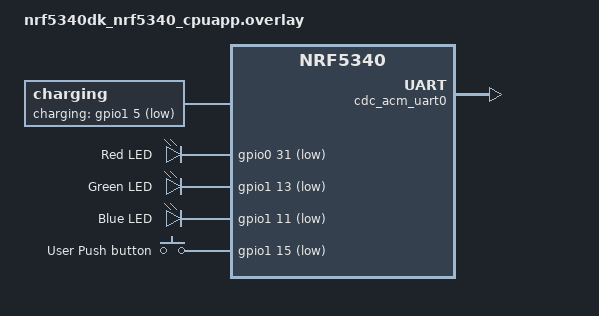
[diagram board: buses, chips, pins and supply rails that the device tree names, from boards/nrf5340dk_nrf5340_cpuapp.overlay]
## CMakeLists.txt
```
#
# Copyright (c) 2021 Nordic Semiconductor
#
# SPDX-License-Identifier: LicenseRef-Nordic-5-Clause
#
cmake_minimum_required(VERSION 3.13.1)

find_package(Zephyr REQUIRED HINTS $ENV{ZEPHYR_BASE})
project(nrf_dm)

# NORDIC SDK APP START
target_sources(app PRIVATE
  src/main.c
  src/peer.c
  )
# NORDIC SDK APP END

zephyr_library_include_directories(${CMAKE_CURRENT_SOURCE_DIR})

target_link_options(app PUBLIC "-Wl,--no-wchar-size-warning")
```

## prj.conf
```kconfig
#
# Copyright (c) 2021 Nordic Semiconductor ASA
#
# SPDX-License-Identifier: LicenseRef-Nordic-5-Clause
#
CONFIG_USB_DEVICE_STACK=y
CONFIG_USB_DEVICE_PRODUCT="Zephyr USB console sample"
CONFIG_BOOT_BANNER=n
CONFIG_STDOUT_CONSOLE=y
CONFIG_LOG=n
CONFIG_SERIAL=y
CONFIG_USE_SEGGER_RTT=y
CONFIG_CONSOLE=y
CONFIG_RTT_CONSOLE=y
CONFIG_UART_CONSOLE=y
CONFIG_UART_LINE_CTRL=y;
CONFIG_LOG_BACKEND_RTT=y

CONFIG_CLOCK_CONTROL_NRF_K32SRC_XTAL=y
CONFIG_CLOCK_CONTROL_NRF_K32SRC_20PPM=y

# BT
CONFIG_BT=y
CONFIG_BT_DEBUG_LOG=n

CONFIG_BT_CENTRAL=y
CONFIG_BT_PERIPHERAL=y

CONFIG_BT_SCAN=y
CONFIG_BT_SCAN_FILTER_ENABLE=y
CONFIG_BT_SCAN_NAME_CNT=1
CONFIG_BT_SCAN_MANUFACTURER_DATA_CNT=1
CONFIG_BT_SCAN_WITH_IDENTITY=y

CONFIG_BT_EXT_ADV=y

CONFIG_BT_DEVICE_NAME="nRF_DM"


# Distance Measurement
CONFIG_DM_MODULE=y
CONFIG_DM_TIMESLOT_RESCHEDULE=n
CONFIG_NEWLIB_LIBC=y

CONFIG_MPSL=y
CONFIG_MPSL_TIMESLOT_SESSION_COUNT=1

CONFIG_DM_MODULE_LOG_LEVEL_DBG=n

CONFIG_REBOOT=y
```

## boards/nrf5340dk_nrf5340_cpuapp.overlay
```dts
/*
 * Copyright (c) 2022 Nordic Semiconductor ASA
 *
 * SPDX-License-Identifier: LicenseRef-Nordic-5-Clause
 */

/ {
	chosen {
		zephyr,console = &cdc_acm_uart0;
	};
	
	charging {
		compatible = "charging";
		charging-gpios = <&gpio1 5 GPIO_ACTIVE_LOW>;
	};
        
	leds {
		compatible = "gpio-leds";
		led_red: led_red {
			gpios = <&gpio0 31 GPIO_ACTIVE_LOW>;
			label = "Red LED";
		};
		led_green: led_green {
			gpios = <&gpio1 13 GPIO_ACTIVE_LOW>;
			label = "Green LED";
		};
		led_blue: led_blue {
			gpios = <&gpio1 11 GPIO_ACTIVE_LOW>;
			label = "Blue LED";
		};
	};
	
	buttons {
		compatible = "gpio-keys";
		button_usr: button_usr {
			gpios = <&gpio1 15 (GPIO_PULL_UP | GPIO_ACTIVE_LOW)>;
			label = "User Push button";
		};
	};

	/* These aliases are provided for compatibility with samples */
	aliases {
		led0 = &led_red;
		led1 = &led_green;
		led2 = &led_blue;
		sw0 = &button_usr;
		bootloader-led0 = &led_red;
	};
};

&zephyr_udc0 {
	cdc_acm_uart0: cdc_acm_uart0 {
		compatible = "zephyr,cdc-acm-uart";
	};
};

&ipc0 {
	zephyr,buffer-size = <1536>;
};
```

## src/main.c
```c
/*
 * Copyright (c) 2021 Nordic Semiconductor ASA
 *
 * SPDX-License-Identifier: LicenseRef-Nordic-5-Clause
 */

/** @file
 *  @brief Nordic Distance Measurement sample
 */

#include <zephyr/kernel.h>
#include <zephyr/sys/byteorder.h>
#include <zephyr/sys/printk.h>
#include <zephyr/sys/reboot.h>

#include <zephyr/drivers/uart.h>
#include <zephyr/usb/usb_device.h>

#include <bluetooth/scan.h>
#include <zephyr/bluetooth/bluetooth.h>

#include "peer.h"
#include <dm.h>

BUILD_ASSERT(DT_NODE_HAS_COMPAT(DT_CHOSEN(zephyr_console), zephyr_cdc_acm_uart),
             "Console device is not ACM CDC UART device");

#define DESRIED_DM_RANGING_MODE DM_RANGING_MODE_MCPD

#define DEVICE_NAME CONFIG_BT_DEVICE_NAME
#define DEVICE_NAME_LEN (sizeof(DEVICE_NAME) - 1)

#define COMPANY_CODE 0x0059
#define SUPPORT_DM_CODE 0xFF55AA5A

static struct dm_cb dm_cb;

const static bt_addr_t devices[6] = {
    {.val = {0x31, 0x34, 0xA7, 0xEE, 0x6F, 0xEE}},
    {.val = {0x63, 0x8E, 0x3D, 0x59, 0x64, 0xDE}},
    {.val = {0x44, 0x56, 0xBE, 0xF2, 0x63, 0xF1}},
    {.val = {0x0F, 0xA1, 0x6D, 0x40, 0x6D, 0xDB}},
    {.val = {0xA2, 0x1B, 0xAB, 0x7D, 0xB4, 0xFF}},
    {.val = {0xDD, 0xA7, 0x54, 0x5D, 0x40, 0xFC}},
};
static int devices_counter = 0;

K_SEM_DEFINE(ble_mutex, 0, 1);

struct adv_mfg_data {
  uint16_t company_code;    /* Company Identifier Code. */
  uint32_t support_dm_code; /* To identify the device that supports distance
                               measurement. */
  uint32_t
      access_address; /* The access address used to measure the distance. */
} __packed;
static struct adv_mfg_data mfg_data;

// scan parameters
static struct bt_le_scan_param scan_param = {
    .type = BT_LE_SCAN_TYPE_ACTIVE, // to create scan requests
    .interval = BT_GAP_SCAN_FAST_INTERVAL,
    .window = BT_GAP_SCAN_FAST_WINDOW,
    .options = BT_LE_SCAN_OPT_NONE,
    .timeout = 0,
};

// scan init parameters
static struct bt_scan_init_param scan_init = {
    .connect_if_match = 0, .scan_param = &scan_param, .conn_param = NULL};

static struct bt_scan_manufacturer_data scan_mfg_data = {
    .data = (unsigned char *)&mfg_data,
    .data_len =
        sizeof(mfg_data.company_code) + sizeof(mfg_data.support_dm_code),
};

static bool data_cb(struct bt_data *data, void *user_data) {
  struct adv_mfg_data *recv_mfg_data;
  struct dm_request req;

  switch (data->type) {
  case BT_DATA_MANUFACTURER_DATA:
    if (sizeof(struct adv_mfg_data) == data->data_len) {
      recv_mfg_data = (struct adv_mfg_data *)data->data;

      bt_addr_le_copy(&req.bt_addr, user_data);
      req.role = DM_ROLE_INITIATOR;
      req.ranging_mode = peer_ranging_mode_get();
      req.access_address = sys_le32_to_cpu(recv_mfg_data->access_address);
      req.start_delay_us = 1000;

      dm_request_add(&req);
    }
    return false;
  default:
    return true;
  }
}

static void scan_filter_match(struct bt_scan_device_info *device_info,
                              struct bt_scan_filter_match *filter_match,
                              bool connectable) {
  static uint8_t reset_counter = 0;
  if (bt_addr_cmp(&devices[devices_counter],
                  &device_info->recv_info->addr->a)) {
    return;
  }

  if (k_sem_take(&ble_mutex, K_NO_WAIT)) {
    reset_counter++;
    if (reset_counter == 20) {
      struct dm_init_param init_param;
      init_param.cb = &dm_cb;
      printk("Reset\r\n");
      sys_reboot(SYS_REBOOT_COLD);
    }
    return;
  } else {
    devices_counter =
        (devices_counter + 1) % (sizeof(devices) / sizeof(bt_addr_t));
    reset_counter = 0;
  }
  bt_addr_le_t addr;

  bt_addr_le_copy(&addr, device_info->recv_info->addr);
  peer_supported_add(device_info->recv_info->addr);
  peer_update_rssi(device_info->recv_info->addr, device_info->recv_info->rssi);
  bt_data_parse(device_info->adv_data, data_cb, &addr);
}

BT_SCAN_CB_INIT(scan_cb, scan_filter_match, NULL, NULL, NULL);

static int scan_start(void) {
  int err;

  bt_scan_init(&scan_init);
  bt_scan_cb_register(&scan_cb);

  err =
      bt_scan_filter_add(BT_SCAN_FILTER_TYPE_MANUFACTURER_DATA, &scan_mfg_data);
  if (err) {
    printk("Scanning filters cannot be set (err %d)\n", err);
    return err;
  }

  err = bt_scan_filter_enable(BT_SCAN_MANUFACTURER_DATA_FILTER, false);
  if (err) {
    printk("Filters cannot be turned on (err %d)\n", err);
    return err;
  }

  err = bt_scan_start(BT_SCAN_TYPE_SCAN_ACTIVE);
  if (err) {
    printk("Scanning failed to start (err %d)\n", err);
    return err;
  }

  return err;
}

static int bt_sync_init(void) {
  /* Synchronisation is based on advertising and scanning modes.
   * It occurs when SCAN_REQ and SCAN_RESP packets are exchanged.
   */

  int err;

  // printk("DM Bluetooth LE Synchronization initialization\n");

  err = peer_access_address_prepare();
  if (err) {
    printk("Failed to prepare access address (err %d)\n", err);
  }

  bt_addr_le_t addr = {0};
  size_t count = 1;
  bt_id_get(&addr, &count);
  char buf[BT_ADDR_LE_STR_LEN] = {0};
  bt_addr_le_to_str(&addr, buf, BT_ADDR_LE_STR_LEN);
  // printk("Device address: %s\r\n", buf);

  peer_ranging_mode_set(DESRIED_DM_RANGING_MODE);

  mfg_data.company_code = sys_cpu_to_le16(COMPANY_CODE);
  mfg_data.support_dm_code = sys_cpu_to_le32(SUPPORT_DM_CODE);
  mfg_data.access_address = sys_cpu_to_le32(peer_access_address_get());

  err = scan_start();
  if (err) {
    printk("Failed to start scanning (err %d)\n", err);
  }
  // print csv header
  /* printk("address,quality,rssi,"); */
  /* if (peer_ranging_mode_get() == DM_RANGING_MODE_RTT) { */
  /*   printk("rtt\n"); */
  /* } else { */
  /*   printk("mcpd_ifft,mcpd_phase_slope,rssi_openspace,best\n"); */
  /* } */
  return err;
}

static void data_ready(struct dm_result *result) {
  if (result->status) {
    peer_update(result);
  }
}

void main(void) {
  int err;
  dm_cb.data_ready = data_ready;
  struct dm_init_param init_param;

  const struct device *const dev = DEVICE_DT_GET(DT_CHOSEN(zephyr_console));
  uint32_t dtr = 0;

  if (usb_enable(NULL)) {
    return;
  }

  while (!dtr) {
    uart_line_ctrl_get(dev, UART_LINE_CTRL_DTR, &dtr);
    k_sleep(K_MSEC(100));
  }
  //printk("Starting Distance Measurement example\n");

  err = peer_init();
  if (err) {
    printk("Peer init failed (err %d)\n", err);
    return;
  }

  init_param.cb = &dm_cb;

  err = dm_init(&init_param);
  if (err) {
    printk("Distance measurement init failed (err %d)\n", err);
    return;
  }

  err = bt_enable(NULL);
  if (err) {
    printk("Bluetooth init failed (err %d)\n", err);
    return;
  }

  err = bt_sync_init();
  if (err) {
    printk("Synchronisation init failed (err %d)\n", err);
    return;
  }

  k_sem_give(&ble_mutex);
  for (;;) {
    k_sleep(K_FOREVER);
  }
}
```

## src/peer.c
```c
/*
 * Copyright (c) 2021 Nordic Semiconductor ASA
 *
 * SPDX-License-Identifier: LicenseRef-Nordic-5-Clause
 */

#include <zephyr/bluetooth/conn.h>
#include <zephyr/kernel.h>

#include "peer.h"

extern struct k_sem ble_mutex;
#define PEER_MAX 8 /* Maximum number of tracked peer devices. */

#define STACKSIZE 1024
#define PEER_THREAD_PRIORITY K_LOWEST_APPLICATION_THREAD_PRIO

#define PEER_TIMEOUT_STEP_MS 500
#define PEER_TIMEOUT_INIT_MS 10000

#define DEFAULT_RANGING_MODE DM_RANGING_MODE_MCPD

static void timeout_handler(struct k_timer *timer_id);
static K_TIMER_DEFINE(timer, timeout_handler, NULL);

struct peer_entry {
  sys_snode_t node;
  bt_addr_le_t bt_addr;
  struct dm_result result;
  int8_t rssi;
  uint16_t timeout_ms;
};

static struct peer_entry *closest_peer;
static uint32_t access_address;
static enum dm_ranging_mode ranging_mode = DEFAULT_RANGING_MODE;

K_MSGQ_DEFINE(result_msgq, sizeof(struct dm_result), 16, 4);

static K_HEAP_DEFINE(peer_heap, PEER_MAX * sizeof(struct peer_entry));
static sys_slist_t peer_list = SYS_SLIST_STATIC_INIT(&peer_list);

static K_MUTEX_DEFINE(list_mtx);

static void list_lock(void) { k_mutex_lock(&list_mtx, K_FOREVER); }

static void list_unlock(void) { k_mutex_unlock(&list_mtx); }

static struct peer_entry *mcpd_min_peer_result(struct peer_entry *a,
                                               struct peer_entry *b) {
  if (!a && !b) {
    return NULL;
  } else if (!a && b) {
    return b->result.ranging_mode == DM_RANGING_MODE_MCPD ? b : NULL;
  } else if (a && !b) {
    return a->result.ranging_mode == DM_RANGING_MODE_MCPD ? a : NULL;
  } else if (a->result.ranging_mode == DM_RANGING_MODE_RTT &&
             b->result.ranging_mode == DM_RANGING_MODE_RTT) {
    return NULL;
  } else if (a->result.ranging_mode == DM_RANGING_MODE_RTT &&
             b->result.ranging_mode == DM_RANGING_MODE_MCPD) {
    return b;
  } else if (a->result.ranging_mode == DM_RANGING_MODE_MCPD &&
             b->result.ranging_mode == DM_RANGING_MODE_RTT) {
    return a;
  }

  if (a->result.dist_estimates.mcpd.best > b->result.dist_estimates.mcpd.best) {
    return a;
  }
  return b;
}

static struct peer_entry *peer_find_closest(void) {
  struct peer_entry *closest_peer, *item;
  sys_snode_t *node, *tmp;

  closest_peer = SYS_SLIST_PEEK_HEAD_CONTAINER(&peer_list, closest_peer, node);
  if (!closest_peer) {
    return NULL;
  }

  SYS_SLIST_FOR_EACH_NODE_SAFE(&peer_list, node, tmp) {
    item = CONTAINER_OF(node, struct peer_entry, node);
    closest_peer = mcpd_min_peer_result(closest_peer, item);
  }

  return closest_peer;
}

struct peer_entry *peer_find(const bt_addr_le_t *peer) {
  if (!peer) {
    return NULL;
  }

  sys_snode_t *node, *tmp;
  struct peer_entry *item;

  SYS_SLIST_FOR_EACH_NODE_SAFE(&peer_list, node, tmp) {
    item = CONTAINER_OF(node, struct peer_entry, node);
    if (bt_addr_le_cmp(&item->bt_addr, peer) == 0) {
      return item;
    }
  }

  return NULL;
}

static void print_result(struct peer_entry *peer) {
  if (!peer) {
    return;
  }

  const char *quality[DM_QUALITY_NONE + 1] = {"ok", "poor", "do not use",
                                              "crc fail", "none"};
  char addr[BT_ADDR_STR_LEN];

  bt_addr_to_str(&peer->result.bt_addr.a, addr, sizeof(addr));

  printk("%s,%s,%d,", addr, quality[peer->result.quality], peer->rssi);

  if (peer->result.ranging_mode == DM_RANGING_MODE_RTT) {
    printk("%.2f\r\n", peer->result.dist_estimates.rtt.rtt);
  } else {
    printk("%.2f,%.2f,%.2f,%.2f\r\n", peer->result.dist_estimates.mcpd.ifft,
           peer->result.dist_estimates.mcpd.phase_slope,
           peer->result.dist_estimates.mcpd.rssi_openspace,
           peer->result.dist_estimates.mcpd.best);
  }
}

static void timeout_handler(struct k_timer *timer_id) {
  sys_snode_t *node, *tmp;
  struct peer_entry *item;

  SYS_SLIST_FOR_EACH_NODE_SAFE(&peer_list, node, tmp) {
    item = CONTAINER_OF(node, struct peer_entry, node);
    if (item->timeout_ms > PEER_TIMEOUT_STEP_MS) {
      item->timeout_ms -= PEER_TIMEOUT_STEP_MS;
    } else {
      sys_slist_remove(&peer_list, NULL, node);
      k_heap_free(&peer_heap, item);
      closest_peer = peer_find_closest();
    }
  }
}

static void peer_thread(void) {
  struct dm_result result;

  while (1) {
    if (k_msgq_get(&result_msgq, &result, K_FOREVER) == 0) {
      struct peer_entry *peer;

      peer = peer_find(&result.bt_addr);
      if (!peer) {
        continue;
      }

      memcpy(&peer->result, &result, sizeof(peer->result));
      peer->timeout_ms = PEER_TIMEOUT_INIT_MS;
      print_result(peer);

      closest_peer = mcpd_min_peer_result(closest_peer, peer);
	  k_sem_give(&ble_mutex);
    }
  }
}

void peer_ranging_mode_set(enum dm_ranging_mode mode) { ranging_mode = mode; }

enum dm_ranging_mode peer_ranging_mode_get(void) { return ranging_mode; }

int peer_access_address_prepare(void) {
  bt_addr_le_t addr = {0};
  size_t count = 1;

  bt_id_get(&addr, &count);

  access_address = addr.a.val[0];
  access_address |= addr.a.val[1] << 8;
  access_address |= addr.a.val[2] << 16;
  access_address |= addr.a.val[3] << 24;

  if (access_address == 0) {
    return -EFAULT;
  }

  return 0;
}

uint32_t peer_access_address_get(void) { return access_address; }

bool peer_supported_test(const bt_addr_le_t *peer) {
  sys_snode_t *node, *tmp;
  struct peer_entry *item;

  SYS_SLIST_FOR_EACH_NODE_SAFE(&peer_list, node, tmp) {
    item = CONTAINER_OF(node, struct peer_entry, node);
    if (bt_addr_le_cmp(&item->bt_addr, peer) == 0) {
      return true;
    }
  }

  return false;
}

int peer_supported_add(const bt_addr_le_t *peer) {
  struct peer_entry *item;

  if (peer_supported_test(peer)) {
    return 0;
  }

  item = k_heap_alloc(&peer_heap, sizeof(struct peer_entry), K_NO_WAIT);
  if (!item) {
    return -ENOMEM;
  }

  item->timeout_ms = PEER_TIMEOUT_INIT_MS;
  bt_addr_le_copy(&item->bt_addr, peer);
  list_lock();
  sys_slist_append(&peer_list, &item->node);
  list_unlock();

  return 0;
}

void peer_update_rssi(const bt_addr_le_t *peer, int8_t rssi) {
  struct peer_entry *item;
  item = peer_find(peer);
  if (item != NULL) {
    item->rssi = rssi;
  }
}

void peer_update(struct dm_result *result) {
  k_msgq_put(&result_msgq, result, K_NO_WAIT);
}

int peer_init(void) {
  k_timer_start(&timer, K_NO_WAIT, K_MSEC(PEER_TIMEOUT_STEP_MS));

  return 0;
}

K_THREAD_DEFINE(peer_consumer_thread_id, STACKSIZE, peer_thread, NULL, NULL,
                NULL, PEER_THREAD_PRIORITY, 0, 0);
```

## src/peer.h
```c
/*
 * Copyright (c) 2021 Nordic Semiconductor ASA
 *
 * SPDX-License-Identifier: LicenseRef-Nordic-5-Clause
 */

#ifndef PEER_H_
#define PEER_H_

#ifdef __cplusplus
extern "C" {
#endif

#include <dm.h>
#include <zephyr/bluetooth/addr.h>
#include <zephyr/kernel.h>

/** @brief Testing if the peer is supported.
 *
 *  @param peer Bluetooth LE Device Address.
 *
 *  @retval /a true peer is supported.
 *          /a false peer is not supported.
 */
bool peer_supported_test(const bt_addr_le_t *peer);

/** @brief Add a new supported peer.
 *
 *  @param peer Bluetooth LE Device Address.
 *
 *  @retval 0 if the operation was successful, otherwise a (negative) error
 * code.
 */
int peer_supported_add(const bt_addr_le_t *peer);

/** @brief Set a new Distance Measurement ranging mode.
 *
 *  @param mode Ranging mode.
 */
void peer_ranging_mode_set(enum dm_ranging_mode mode);

/** @brief Get the current ranging mode.
 *
 *  @param None
 *
 *  @retval Ranging mode value.
 */
enum dm_ranging_mode peer_ranging_mode_get(void);

/** @brief Prepare an access address.
 *
 *  @retval 0 if the operation was successful, otherwise a (negative) error
 * code.
 */
int peer_access_address_prepare(void);

/** @brief Get the current access address.
 *
 *  @retval Access address value.
 */
uint32_t peer_access_address_get(void);

/** @brief Initialize the peer management module.
 *
 *  @param None
 *
 *  @retval 0 if the operation was successful, otherwise a (negative) error
 * code.
 */
int peer_init(void);

/** @brief Peer measurement update.
 *
 *  @param result Measurement structure.
 */
void peer_update(struct dm_result *result);

/** @brief Peer update rssi.
 *
 *  @param peer Bluetooth LE Device Address
 *  @param rssi RSSI value
 */
void peer_update_rssi(const bt_addr_le_t *peer, int8_t rssi);

#ifdef __cplusplus
}
#endif

#endif /* PEER_H_ */
```
